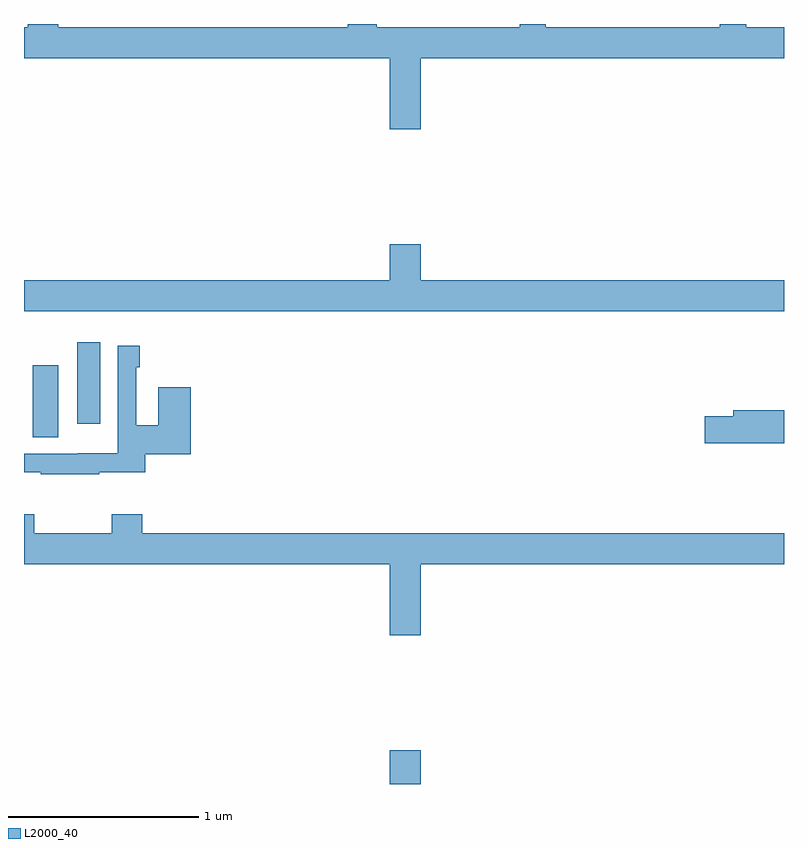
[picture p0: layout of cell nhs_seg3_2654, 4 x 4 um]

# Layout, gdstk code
import gdstk
lib = gdstk.Library(unit=1e-6, precision=1e-09)
def R(c, l, rs):  # rectangles x0, y0, x1, y1
    for r in rs: c.add(gdstk.rectangle(r[:2], r[2:], *l))
def P(c, l, *ps):  # polygons
    for p in ps: c.add(gdstk.Polygon(p, *l))
L2000_40 = (2000, 40)

nhs_seg3_2654 = lib.new_cell('nhs_seg3_2654')
R(nhs_seg3_2654, L2000_40, [(248.924,726.4,249.088,726.577), (247.046,728.224,247.18,728.605), (247.28,728.295,247.402,728.725)])
P(nhs_seg3_2654, L2000_40, [(248.924,729.846),(249.088,729.846),(249.088,730.22),(251,730.22),(251,730.384),(250.801,730.384),(250.801,730.4),(250.661,730.4),(250.661,730.384),(249.747,730.384),(249.747,730.4),(249.609,730.4),(249.609,730.384),(248.857,730.384),(248.857,730.4),(248.705,730.4),(248.705,730.384),(247.181,730.384),(247.181,730.4),(247.021,730.4),(247.021,730.384),(247,730.384),(247,730.22),(248.924,730.22)],
  [(251,729.052),(249.088,729.052),(249.088,729.241),(248.924,729.241),(248.924,729.052),(247,729.052),(247,728.888),(251,728.888)],
  [(247.397,728.041),(247.637,728.041),(247.637,728.135),(247.877,728.135),(247.877,728.488),(247.706,728.488),(247.706,728.288),(247.59,728.288),(247.59,728.594),(247.61,728.594),(247.61,728.707),(247.494,728.707),(247.494,728.14),(247.284,728.14),(247.284,728.139),(247,728.139),(247,728.041),(247.087,728.041),(247.087,728.031),(247.397,728.031)],
  [(251,728.366),(250.733,728.366),(250.733,728.336),(250.584,728.336),(250.584,728.194),(251,728.194)],
  [(247,727.819),(247,727.556),(248.924,727.556),(248.924,727.182),(249.088,727.182),(249.088,727.556),(251,727.556),(251,727.72),(247.622,727.72),(247.622,727.819),(247.462,727.819),(247.462,727.72),(247.053,727.72),(247.053,727.819)])

lib.write_gds('nhs_seg3_2654.gds')
